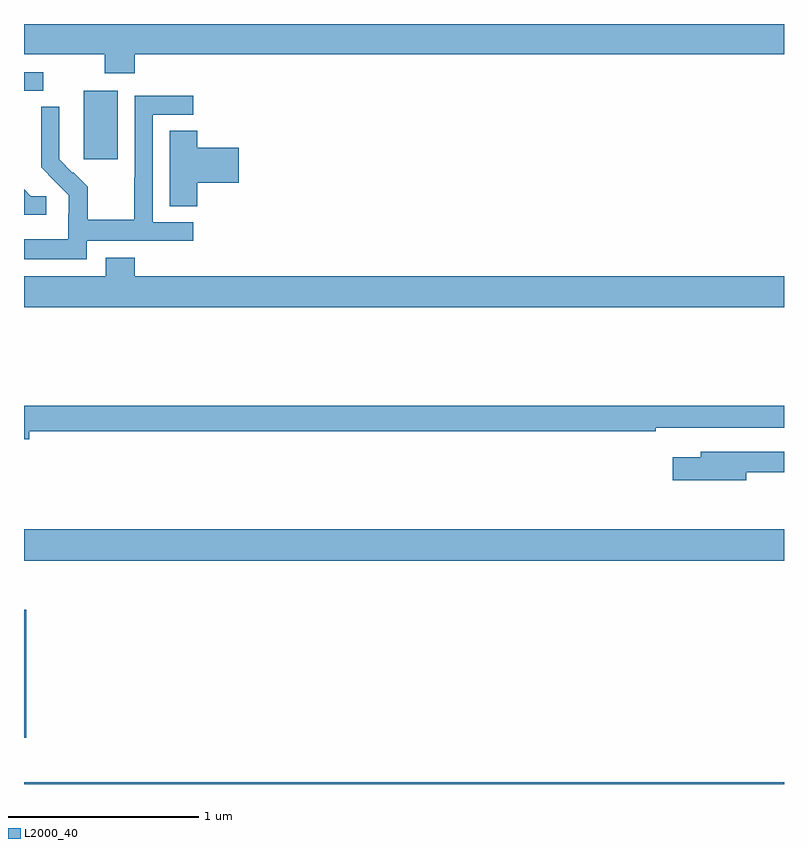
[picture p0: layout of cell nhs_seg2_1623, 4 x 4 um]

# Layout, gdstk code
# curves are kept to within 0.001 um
import gdstk
lib = gdstk.Library(unit=1e-6, precision=1e-09)
def R(c, l, rs):  # rectangles x0, y0, x1, y1
    for r in rs: c.add(gdstk.rectangle(r[:2], r[2:], *l))
def P(c, l, *ps):  # polygons
    for p in ps: c.add(gdstk.Polygon(p, *l))
L2000_40 = (2000, 40)

nhs_seg2_1623 = lib.new_cell('nhs_seg2_1623')
R(nhs_seg2_1623, L2000_40, [(195,639.8,199,639.808), (195,640.044,195.011,640.718), (195,640.976,199,641.14), (195.314,643.089,195.493,643.45), (195,643.449,195.1,643.545)])
P(nhs_seg2_1623, L2000_40, [(195.584,643.64),(199,643.64),(199,643.8),(195,643.8),(195,643.64),(195.424,643.64),(195.424,643.541),(195.584,643.541)],
  [(195.33,642.66),(195.892,642.66),(195.892,642.756),(195.678,642.756),(195.678,643.323),(195.892,643.323),(195.892,643.422),(195.582,643.422),(195.582,642.992),(195.58,642.992),(195.58,642.769),(195.335,642.769),(195.335,642.943),(195.258,643.02),(195.255,643.017),(195.185,643.088),(195.186,643.364),(195.09,643.364),(195.09,643.046),(195.236,642.898),(195.236,642.801),(195.234,642.801),(195.234,642.667),(195,642.667),(195,642.563),(195.33,642.563)],
  [(195.911,642.965),(196.129,642.965),(196.129,643.148),(195.911,643.148),(195.911,643.238),(195.767,643.238),(195.767,642.841),(195.911,642.841)],
  [(195.118,642.894),(195.036,642.894),(195,642.93),(195,642.797),(195.118,642.797)],
  [(199,642.472),(195.584,642.472),(195.584,642.571),(195.431,642.571),(195.431,642.472),(195,642.472),(195,642.308),(199,642.308)],
  [(195.028,641.656),(198.326,641.656),(198.326,641.676),(199,641.676),(199,641.792),(195,641.792),(195,641.614),(195.028,641.614)],
  [(198.802,641.442),(199,641.442),(199,641.55),(198.563,641.55),(198.563,641.521),(198.414,641.521),(198.414,641.399),(198.802,641.399)])

lib.write_gds('nhs_seg2_1623.gds')
